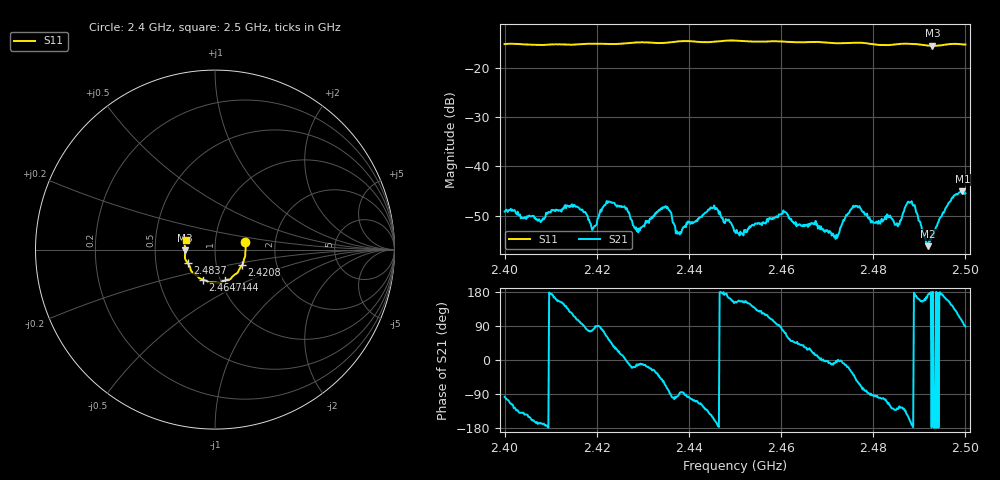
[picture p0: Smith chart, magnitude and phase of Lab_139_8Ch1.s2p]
# Hz S RI R 50
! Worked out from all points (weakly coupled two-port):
!   601 points, 2.4 GHz to 2.5 GHz, reference 50 ohm
!   highest |S21| = -45.11 dB at 2.4993 GHz (marker M1); lowest = -56.2 dB at 2.4918 GHz (marker M2)
!   lowest |S11| = -15.6 dB at 2.4928 GHz (marker M3), VSWR 1.40, Z = 35.8 - j0.351 ohm
!   |S11| at or under -10 dB: start of sweep to end of sweep
!   S12 and S22 are empty: the file has one direction only
!   S11 on the Smith chart (normalised r, x): 2.4 GHz: 1.40, +0.12; 2.4208 GHz: 1.33, -0.24; 2.444 GHz: 1.06, -0.37; 2.4647 GHz: 0.83, -0.29; 2.4837 GHz: 0.73, -0.11; 2.5 GHz: 0.72, +0.08
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2.4e9  0.1678 0.0413  -0.000439 -0.00346  0 0  0 0
2.416667e9  0.159 -0.068  -0.000389 0.00358  0 0  0 0
2.419333e9  0.1539 -0.0816  0.000327 0.00238  0 0  0 0
2.420833e9  0.1507 -0.0871  0.000319 0.00362  0 0  0 0
2.426e9  0.1331 -0.1142  0.00392 0.000327  0 0  0 0
2.428833e9  0.1274 -0.1265  0.00225 -0.000604  0 0  0 0
2.433333e9  0.1078 -0.1402  0.00266 -0.00233  0 0  0 0
2.437667e9  0.0891 -0.1609  -0.000153 -0.0021  0 0  0 0
2.444e9  0.0581 -0.1708  -0.00236 -0.00258  0 0  0 0
2.45e9  0.0246 -0.186  -0.00193 0.000993  0 0  0 0
2.460667e9  -0.0388 -0.1788  0.000936 0.00331  0 0  0 0
2.464667e9  -0.0673 -0.1672  0.00194 0.00154  0 0  0 0
2.466667e9  -0.0799 -0.1628  0.00245 0.00102  0 0  0 0
2.472e9  -0.1016 -0.1437  0.00202 -8.41e-05  0 0  0 0
2.476e9  -0.1274 -0.1242  0.00272 -0.00276  0 0  0 0
2.483333e9  -0.1505 -0.0762  -0.00122 -0.00279  0 0  0 0
2.483667e9  -0.1525 -0.0734  -0.00159 -0.00274  0 0  0 0
2.4885e9  -0.1674 -0.0458  -0.00408 -0.000472  0 0  0 0
2.491833e9  -0.1663 -0.0166  -0.00154 0.000223  0 0  0 0
2.492833e9  -0.1658 -0.00477  -0.00209 1.96e-05  0 0  0 0
2.499333e9  -0.1647 0.0477  -0.00109 0.00545  0 0  0 0
2.5e9  -0.1624 0.0527  0.000111 0.00533  0 0  0 0
